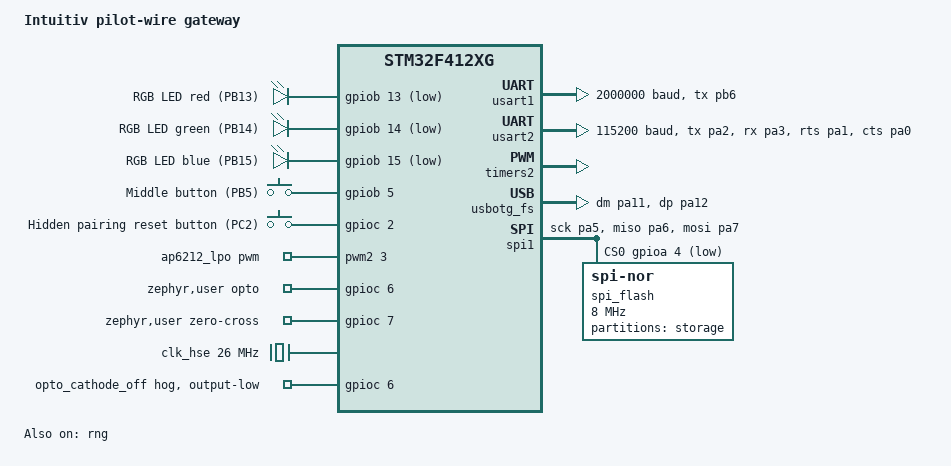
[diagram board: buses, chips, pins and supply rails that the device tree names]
/*
 * SPDX-License-Identifier: Apache-2.0
 */

/dts-v1/;
#include <st/f4/stm32f412Xg.dtsi>
#include <st/f4/stm32f412r(e-g)tx-pinctrl.dtsi>
#include <zephyr/dt-bindings/input/input-event-codes.h>
#include <zephyr/dt-bindings/pwm/pwm.h>

/ {
	model = "Intuitiv pilot-wire gateway";
	compatible = "vendor,intuitiv";

	chosen {
		zephyr,sram = &sram0;
		zephyr,flash = &flash0;
		zephyr,console = &usart1;
		zephyr,shell-uart = &usart1;
		zephyr,bt-hci = &bt_hci_uart;
		zephyr,settings-partition = &storage_partition;
	};

	/* RGB LED, active low. Colour of each pin not identified yet. */
	leds {
		compatible = "gpio-leds";

		led_red: led_red {
			gpios = <&gpiob 13 GPIO_ACTIVE_LOW>;
			label = "RGB LED red (PB13)";
		};

		led_green: led_green {
			gpios = <&gpiob 14 GPIO_ACTIVE_LOW>;
			label = "RGB LED green (PB14)";
		};

		led_blue: led_blue {
			gpios = <&gpiob 15 GPIO_ACTIVE_LOW>;
			label = "RGB LED blue (PB15)";
		};
	};

	/* Polarity not measured yet: assumed active low */
	buttons {
		compatible = "gpio-keys";

		button_middle: button_middle {
			gpios = <&gpiob 5 (GPIO_ACTIVE_HIGH | GPIO_PULL_DOWN)>;
			label = "Middle button (PB5)";
			zephyr,code = <INPUT_KEY_0>;
		};

		button_pairing: button_pairing {
			gpios = <&gpioc 2 (GPIO_ACTIVE_HIGH | GPIO_PULL_DOWN)>;
			label = "Hidden pairing reset button (PC2)";
			zephyr,code = <INPUT_KEY_1>;
		};
	};

	/* AP6212 LPO (pin 24): its Bluetooth core answers nothing but HCI_Reset without it */
	ap6212_lpo: ap6212-lpo {
		compatible = "pwm-clock";
		#clock-cells = <1>;
		pwms = <&pwm2 3 PWM_HZ(32768) PWM_POLARITY_NORMAL>;
	};

	/* Pilot-wire output: optotriac cathode switch and mains zero-cross */
	zephyr,user {
		opto-gpios = <&gpioc 6 GPIO_ACTIVE_HIGH>;
		zero-cross-gpios = <&gpioc 7 GPIO_ACTIVE_HIGH>;
	};

	aliases {
		led0 = &led_red;
		led1 = &led_green;
		led2 = &led_blue;
		sw0 = &button_middle;
		sw1 = &button_pairing;
	};
};

/* Crystal marked "NSK B 26TAG": assumed 26 MHz. Fallback: HSI (16 MHz) with div-m = 8. */
&clk_hse {
	clock-frequency = <DT_FREQ_M(26)>;
	status = "okay";
};

/* 26 MHz / 13 = 2 MHz, x96 = 192 MHz VCO, /2 = 96 MHz SYSCLK, /4 = 48 MHz */
&pll {
	div-m = <13>;
	mul-n = <96>;
	div-p = <2>;
	div-q = <4>;
	clocks = <&clk_hse>;
	status = "okay";
};

&rcc {
	clocks = <&pll>;
	clock-frequency = <DT_FREQ_M(96)>;
	ahb-prescaler = <1>;
	apb1-prescaler = <2>;
	apb2-prescaler = <1>;
};

/* Console on the bottom test pad wired to PB6. TX only: PB7 not traced */
&usart1 {
	pinctrl-0 = <&usart1_tx_pb6>;
	pinctrl-names = "default";
	current-speed = <2000000>;
	status = "okay";
};

/* Optotriac cathode switch: keep it off until firmware drives the triac */
&gpioc {
	opto_cathode_off {
		gpio-hog;
		gpios = <6 GPIO_ACTIVE_HIGH>;
		output-low;
	};
};

/* AP6212 Bluetooth, H4 at the controller default 115200 */
&usart2 {
	pinctrl-0 = <&usart2_tx_pa2 &usart2_rx_pa3 &usart2_rts_pa1 &usart2_cts_pa0>;
	pinctrl-names = "default";
	current-speed = <115200>;
	hw-flow-control;
	status = "okay";

	bt_hci_uart: bt_hci_uart {
		compatible = "zephyr,bt-hci-uart";
		status = "okay";

		bt-hci {
			compatible = "infineon,bt-hci-uart";
			status = "okay";
			bt-reg-on-gpios = <&gpioc 5 GPIO_ACTIVE_HIGH>;
		};
	};
};

/* 32.768 kHz LPO on PB10. 96 MHz / 2929 = 32776 Hz (+240 ppm): no exact divider */
&timers2 {
	st,prescaler = <0>;
	status = "okay";

	pwm2: pwm {
		pinctrl-0 = <&tim2_ch3_pb10>;
		pinctrl-names = "default";
		status = "okay";
	};
};

/* USB connector, for the cdc-acm-console snippet. 48 MHz comes from PLLQ */
zephyr_udc0: &usbotg_fs {
	pinctrl-0 = <&usb_otg_fs_dm_pa11 &usb_otg_fs_dp_pa12>;
	pinctrl-names = "default";
	status = "okay";
};

/* AT25SF641 on SPI1. SPI1 sits on APB2 (96 MHz). Start low until wiring is confirmed */
&spi1 {
	pinctrl-0 = <&spi1_sck_pa5 &spi1_miso_pa6 &spi1_mosi_pa7>;
	pinctrl-names = "default";
	cs-gpios = <&gpioa 4 GPIO_ACTIVE_LOW>;
	status = "okay";

	spi_flash: flash@0 {
		compatible = "jedec,spi-nor";
		reg = <0>;
		spi-max-frequency = <DT_FREQ_M(8)>;
		size = <DT_SIZE_M(64)>; /* bits */
		jedec-id = [1f 32 17];

		partitions {
			compatible = "fixed-partitions";
			#address-cells = <1>;
			#size-cells = <1>;

			/* Settings (Bluetooth bonds): 16 erase sectors of 4 KiB */
			storage_partition: partition@0 {
				label = "storage";
				reg = <0x0 DT_SIZE_K(64)>;
			};
		};
	};
};

/* Entropy source (Bluetooth host), clocked by PLLQ 48 MHz */
&rng {
	status = "okay";
};
